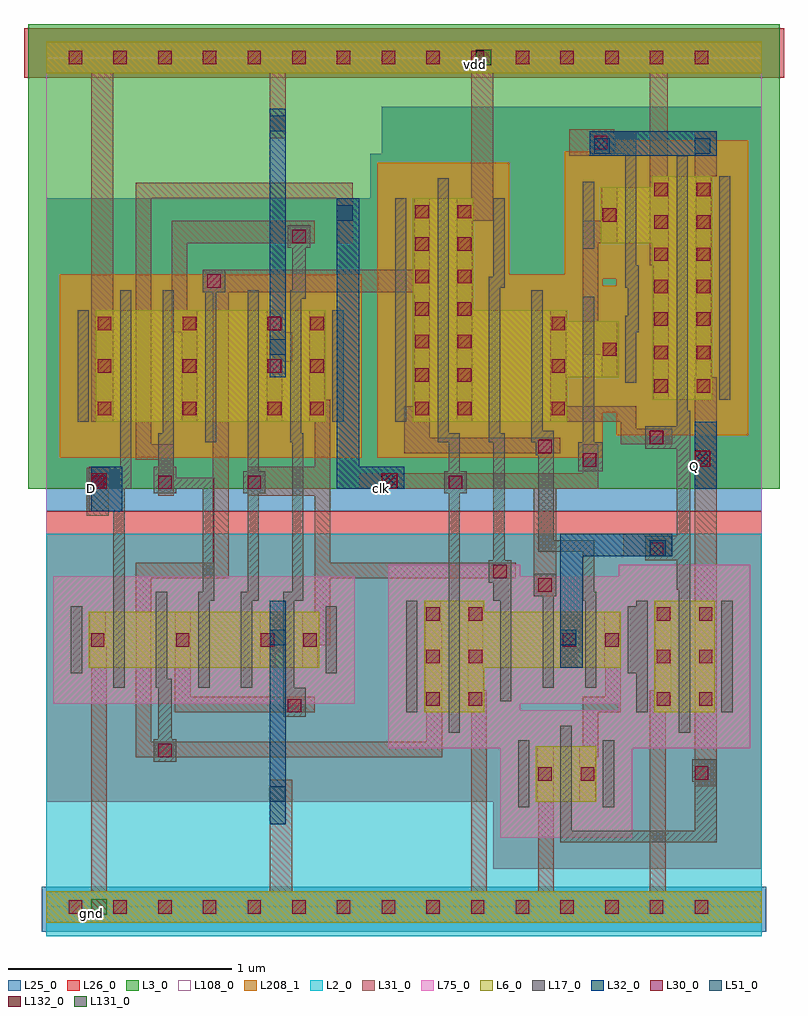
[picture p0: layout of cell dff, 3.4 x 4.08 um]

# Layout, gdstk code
from math import pi, radians
import gdstk
lib = gdstk.Library(unit=1e-6, precision=1e-09)
def R(c, l, rs):  # rectangles x0, y0, x1, y1
    for r in rs: c.add(gdstk.rectangle(r[:2], r[2:], *l))
def A(c, l, x, y, w, h, nx, ny, dx, dy):  # array of equal rectangles
    R(c, l, [(x+i*dx, y+j*dy, x+i*dx+w, y+j*dy+h) for i in range(nx) for j in range(ny)])
L2_0 = (2, 0)
L3_0 = (3, 0)
L6_0 = (6, 0)
L17_0 = (17, 0)
L25_0 = (25, 0)
L26_0 = (26, 0)
L30_0 = (30, 0)
L31_0 = (31, 0)
L32_0 = (32, 0)
L51_0 = (51, 0)
L75_0 = (75, 0)
L108_0 = (108, 0)
L131_0 = (131, 0)
L132_0 = (132, 0)
L208_1 = (208, 1)

pch_mac_cdns_72481076918 = lib.new_cell('pch_mac_CDNS_724810769180')
R(pch_mac_cdns_72481076918, L3_0, [(-0.23,-0.16,0.28,0.66)])
R(pch_mac_cdns_72481076918, L6_0, [(-0.07,0,0,0.5), (0,0,0.05,0.5), (0.05,0,0.12,0.5)])
R(pch_mac_cdns_72481076918, L17_0, [(0,-0.09,0.05,0), (0,0,0.05,0.5), (0,0.5,0.05,0.59)])
R(pch_mac_cdns_72481076918, L25_0, [(-0.2,-0.2,0.25,0.7)])
R(pch_mac_cdns_72481076918, L208_1, [(-0.23,-0.16,0.28,0.66)])
pch_mac_cdns_72481076918.add(gdstk.Label('& SerialNumber 000000', (0,0), layer=63, texttype=63))
pch_mac_cdns_72481076918.add(gdstk.Label('& Distributor TSMC', (0,0), layer=63, texttype=63))
pch_mac_cdns_72481076918.add(gdstk.Label('& Metric 1', (0,0), layer=63, texttype=63))
pch_mac_cdns_72481076918.add(gdstk.Label('& PDK Version "tsmcN40_CRN40ULP_v1.5_2b_20200409"', (0,0), layer=63, texttype=63))
pch_mac_cdns_72481076918.add(gdstk.Label('& PDK TechNode "CRN40ULP"', (0,0), layer=63, texttype=63))
pch_mac_cdns_72481076918.add(gdstk.Label('& Product    tsmcN40_PDK', (0,0), layer=63, texttype=63))
pch_mac_cdns_72481076918.add(gdstk.Label('& Vendor     Taiwan Semiconductor manufacturing Corp.', (0,0), layer=63, texttype=63))
pch_mac_cdns_72481076918.add(gdstk.Label('[@instanceName]', (0.025,0.25), layer=127, texttype=0))
pch_mac_cdns_72481076918.add(gdstk.Label('0.5/0.05', (0,0), layer=127, texttype=0))
pch_mac_cdns_72481076918.add(gdstk.Label('pch_mac', (0,0.045), layer=127, texttype=0))

c_pch_mac_cdns_72481076918 = lib.new_cell('pch_mac_CDNS_724810769181')
R(c_pch_mac_cdns_72481076918, L3_0, [(-0.19,-0.16,0.32,0.66)])
R(c_pch_mac_cdns_72481076918, L6_0, [(-0.03,0,0,0.5), (0,0,0.05,0.5), (0.05,0,0.16,0.5)])
R(c_pch_mac_cdns_72481076918, L17_0, [(0,-0.09,0.05,0), (0,0,0.05,0.5), (0.19,0,0.24,0.5), (0,0.5,0.05,0.59)])
R(c_pch_mac_cdns_72481076918, L25_0, [(-0.16,-0.2,0.29,0.7), (0.29,-0.2,0.35,0.7)])
A(c_pch_mac_cdns_72481076918, L30_0, 0.09, 0.03, 0.06, 0.06, 1, 3, 0, 0.19)
R(c_pch_mac_cdns_72481076918, L31_0, [(0.085,0,0.155,0.5)])
R(c_pch_mac_cdns_72481076918, L208_1, [(-0.19,-0.16,0.32,0.66)])
c_pch_mac_cdns_72481076918.add(gdstk.Label('& SerialNumber 000000', (0,0), layer=63, texttype=63))
c_pch_mac_cdns_72481076918.add(gdstk.Label('& Distributor TSMC', (0,0), layer=63, texttype=63))
c_pch_mac_cdns_72481076918.add(gdstk.Label('& Metric 1', (0,0), layer=63, texttype=63))
c_pch_mac_cdns_72481076918.add(gdstk.Label('& PDK Version "tsmcN40_CRN40ULP_v1.5_2b_20200409"', (0,0), layer=63, texttype=63))
c_pch_mac_cdns_72481076918.add(gdstk.Label('& PDK TechNode "CRN40ULP"', (0,0), layer=63, texttype=63))
c_pch_mac_cdns_72481076918.add(gdstk.Label('& Product    tsmcN40_PDK', (0,0), layer=63, texttype=63))
c_pch_mac_cdns_72481076918.add(gdstk.Label('& Vendor     Taiwan Semiconductor manufacturing Corp.', (0,0), layer=63, texttype=63))
c_pch_mac_cdns_72481076918.add(gdstk.Label('[@instanceName]', (0.025,0.25), layer=127, texttype=0))
c_pch_mac_cdns_72481076918.add(gdstk.Label('0.5/0.05', (0,0), layer=127, texttype=0))
c_pch_mac_cdns_72481076918.add(gdstk.Label('pch_mac', (0,0.045), layer=127, texttype=0))
c_pch_mac_cdns_72481076918.add(gdstk.Label('D', (0.12,0.25), layer=127, texttype=0))

nch_mac_cdns_72481076918 = lib.new_cell('nch_mac_CDNS_724810769182')
R(nch_mac_cdns_72481076918, L6_0, [(-0.07,0,0,0.25), (0,0,0.05,0.25), (0.05,0,0.12,0.25)])
R(nch_mac_cdns_72481076918, L17_0, [(0,-0.09,0.05,0), (0,0,0.05,0.25), (0,0.25,0.05,0.34)])
R(nch_mac_cdns_72481076918, L26_0, [(-0.2,-0.2,0.25,0.45)])
R(nch_mac_cdns_72481076918, L75_0, [(-0.23,-0.16,0.28,0.41)])
R(nch_mac_cdns_72481076918, L208_1, [(-0.23,-0.16,0.28,0.41)])
nch_mac_cdns_72481076918.add(gdstk.Label('& SerialNumber 000000', (0,0), layer=63, texttype=63))
nch_mac_cdns_72481076918.add(gdstk.Label('& Distributor TSMC', (0,0), layer=63, texttype=63))
nch_mac_cdns_72481076918.add(gdstk.Label('& Metric 1', (0,0), layer=63, texttype=63))
nch_mac_cdns_72481076918.add(gdstk.Label('& PDK Version "tsmcN40_CRN40ULP_v1.5_2b_20200409"', (0,0), layer=63, texttype=63))
nch_mac_cdns_72481076918.add(gdstk.Label('& PDK TechNode "CRN40ULP"', (0,0), layer=63, texttype=63))
nch_mac_cdns_72481076918.add(gdstk.Label('& Product    tsmcN40_PDK', (0,0), layer=63, texttype=63))
nch_mac_cdns_72481076918.add(gdstk.Label('& Vendor     Taiwan Semiconductor manufacturing Corp.', (0,0), layer=63, texttype=63))
nch_mac_cdns_72481076918.add(gdstk.Label('[@instanceName]', (0.025,0.125), layer=127, texttype=0))
nch_mac_cdns_72481076918.add(gdstk.Label('0.25/0.05', (0,0), layer=127, texttype=0))
nch_mac_cdns_72481076918.add(gdstk.Label('nch_mac', (0,0.045), layer=127, texttype=0))

c_nch_mac_cdns_72481076918 = lib.new_cell('nch_mac_CDNS_724810769183')
R(c_nch_mac_cdns_72481076918, L6_0, [(-0.11,0,0,0.25), (0,0,0.05,0.25), (0.05,0,0.16,0.25)])
R(c_nch_mac_cdns_72481076918, L17_0, [(0,-0.09,0.05,0), (0.19,-0.025,0.24,0.275), (0,0,0.05,0.25), (0,0.25,0.05,0.34)])
R(c_nch_mac_cdns_72481076918, L26_0, [(-0.24,-0.2,0.29,0.45), (0.29,-0.2,0.35,0.45)])
R(c_nch_mac_cdns_72481076918, L30_0, [(-0.1,0.095,-0.04,0.155), (0.09,0.095,0.15,0.155)])
R(c_nch_mac_cdns_72481076918, L31_0, [(-0.105,0,-0.035,0.25), (0.085,0,0.155,0.25)])
R(c_nch_mac_cdns_72481076918, L75_0, [(-0.27,-0.16,0.32,0.41)])
R(c_nch_mac_cdns_72481076918, L208_1, [(-0.27,-0.16,0.32,0.41)])
c_nch_mac_cdns_72481076918.add(gdstk.Label('& SerialNumber 000000', (0,0), layer=63, texttype=63))
c_nch_mac_cdns_72481076918.add(gdstk.Label('& Distributor TSMC', (0,0), layer=63, texttype=63))
c_nch_mac_cdns_72481076918.add(gdstk.Label('& Metric 1', (0,0), layer=63, texttype=63))
c_nch_mac_cdns_72481076918.add(gdstk.Label('& PDK Version "tsmcN40_CRN40ULP_v1.5_2b_20200409"', (0,0), layer=63, texttype=63))
c_nch_mac_cdns_72481076918.add(gdstk.Label('& PDK TechNode "CRN40ULP"', (0,0), layer=63, texttype=63))
c_nch_mac_cdns_72481076918.add(gdstk.Label('& Product    tsmcN40_PDK', (0,0), layer=63, texttype=63))
c_nch_mac_cdns_72481076918.add(gdstk.Label('& Vendor     Taiwan Semiconductor manufacturing Corp.', (0,0), layer=63, texttype=63))
c_nch_mac_cdns_72481076918.add(gdstk.Label('[@instanceName]', (0.025,0.125), layer=127, texttype=0))
c_nch_mac_cdns_72481076918.add(gdstk.Label('0.25/0.05', (0,0), layer=127, texttype=0))
c_nch_mac_cdns_72481076918.add(gdstk.Label('nch_mac', (0,0.045), layer=127, texttype=0))
c_nch_mac_cdns_72481076918.add(gdstk.Label('D', (0.12,0.125), layer=127, texttype=0))
c_nch_mac_cdns_72481076918.add(gdstk.Label('S', (-0.07,0.125), layer=127, texttype=0))

c_nch_mac_cdns_72481076918_ = lib.new_cell('nch_mac_CDNS_724810769184')
R(c_nch_mac_cdns_72481076918_, L6_0, [(-0.11,0,0,0.5), (0,0,0.05,0.5), (0.05,0,0.16,0.5)])
A(c_nch_mac_cdns_72481076918_, L17_0, -0.19, 0, 0.05, 0.5, 3, 1, 0.19, 0)
R(c_nch_mac_cdns_72481076918_, L17_0, [(0,-0.09,0.05,0), (0,0.5,0.05,0.59)])
R(c_nch_mac_cdns_72481076918_, L26_0, [(-0.3,-0.2,-0.24,0.7), (-0.24,-0.2,0.29,0.7), (0.29,-0.2,0.35,0.7)])
A(c_nch_mac_cdns_72481076918_, L30_0, -0.1, 0.03, 0.06, 0.06, 1, 3, 0, 0.19)
A(c_nch_mac_cdns_72481076918_, L30_0, 0.09, 0.03, 0.06, 0.06, 1, 3, 0, 0.19)
R(c_nch_mac_cdns_72481076918_, L31_0, [(-0.105,0,-0.035,0.5), (0.085,0,0.155,0.5)])
R(c_nch_mac_cdns_72481076918_, L75_0, [(-0.27,-0.16,0.32,0.66)])
R(c_nch_mac_cdns_72481076918_, L208_1, [(-0.27,-0.16,0.32,0.66)])
c_nch_mac_cdns_72481076918_.add(gdstk.Label('& SerialNumber 000000', (0,0), layer=63, texttype=63))
c_nch_mac_cdns_72481076918_.add(gdstk.Label('& Distributor TSMC', (0,0), layer=63, texttype=63))
c_nch_mac_cdns_72481076918_.add(gdstk.Label('& Metric 1', (0,0), layer=63, texttype=63))
c_nch_mac_cdns_72481076918_.add(gdstk.Label('& PDK Version "tsmcN40_CRN40ULP_v1.5_2b_20200409"', (0,0), layer=63, texttype=63))
c_nch_mac_cdns_72481076918_.add(gdstk.Label('& PDK TechNode "CRN40ULP"', (0,0), layer=63, texttype=63))
c_nch_mac_cdns_72481076918_.add(gdstk.Label('& Product    tsmcN40_PDK', (0,0), layer=63, texttype=63))
c_nch_mac_cdns_72481076918_.add(gdstk.Label('& Vendor     Taiwan Semiconductor manufacturing Corp.', (0,0), layer=63, texttype=63))
c_nch_mac_cdns_72481076918_.add(gdstk.Label('[@instanceName]', (0.025,0.25), layer=127, texttype=0))
c_nch_mac_cdns_72481076918_.add(gdstk.Label('0.5/0.05', (0,0), layer=127, texttype=0))
c_nch_mac_cdns_72481076918_.add(gdstk.Label('nch_mac', (0,0.045), layer=127, texttype=0))
c_nch_mac_cdns_72481076918_.add(gdstk.Label('D', (0.12,0.25), layer=127, texttype=0))
c_nch_mac_cdns_72481076918_.add(gdstk.Label('S', (-0.07,0.25), layer=127, texttype=0))

c_pch_mac_cdns_72481076918_ = lib.new_cell('pch_mac_CDNS_724810769185')
R(c_pch_mac_cdns_72481076918_, L3_0, [(-0.23,-0.16,0.32,0.41)])
R(c_pch_mac_cdns_72481076918_, L6_0, [(-0.07,0,0,0.25), (0,0,0.05,0.25), (0.05,0,0.16,0.25)])
R(c_pch_mac_cdns_72481076918_, L17_0, [(0,-0.09,0.05,0), (0.19,-0.025,0.24,0.275), (0,0,0.05,0.25), (0,0.25,0.05,0.34)])
R(c_pch_mac_cdns_72481076918_, L25_0, [(-0.2,-0.2,0.29,0.45), (0.29,-0.2,0.35,0.45)])
R(c_pch_mac_cdns_72481076918_, L30_0, [(0.09,0.095,0.15,0.155)])
R(c_pch_mac_cdns_72481076918_, L31_0, [(0.085,0,0.155,0.25)])
R(c_pch_mac_cdns_72481076918_, L208_1, [(-0.23,-0.16,0.32,0.41)])
c_pch_mac_cdns_72481076918_.add(gdstk.Label('& SerialNumber 000000', (0,0), layer=63, texttype=63))
c_pch_mac_cdns_72481076918_.add(gdstk.Label('& Distributor TSMC', (0,0), layer=63, texttype=63))
c_pch_mac_cdns_72481076918_.add(gdstk.Label('& Metric 1', (0,0), layer=63, texttype=63))
c_pch_mac_cdns_72481076918_.add(gdstk.Label('& PDK Version "tsmcN40_CRN40ULP_v1.5_2b_20200409"', (0,0), layer=63, texttype=63))
c_pch_mac_cdns_72481076918_.add(gdstk.Label('& PDK TechNode "CRN40ULP"', (0,0), layer=63, texttype=63))
c_pch_mac_cdns_72481076918_.add(gdstk.Label('& Product    tsmcN40_PDK', (0,0), layer=63, texttype=63))
c_pch_mac_cdns_72481076918_.add(gdstk.Label('& Vendor     Taiwan Semiconductor manufacturing Corp.', (0,0), layer=63, texttype=63))
c_pch_mac_cdns_72481076918_.add(gdstk.Label('[@instanceName]', (0.025,0.125), layer=127, texttype=0))
c_pch_mac_cdns_72481076918_.add(gdstk.Label('0.25/0.05', (0,0), layer=127, texttype=0))
c_pch_mac_cdns_72481076918_.add(gdstk.Label('pch_mac', (0,0.045), layer=127, texttype=0))
c_pch_mac_cdns_72481076918_.add(gdstk.Label('D', (0.12,0.125), layer=127, texttype=0))

c_pch_mac_cdns_72481076918__ = lib.new_cell('pch_mac_CDNS_724810769186')
R(c_pch_mac_cdns_72481076918__, L3_0, [(-0.23,-0.16,0.32,0.66)])
R(c_pch_mac_cdns_72481076918__, L6_0, [(-0.07,0,0,0.5), (0,0,0.05,0.5), (0.05,0,0.16,0.5)])
R(c_pch_mac_cdns_72481076918__, L17_0, [(0,-0.09,0.05,0), (0,0,0.05,0.5), (0,0.5,0.05,0.59)])
R(c_pch_mac_cdns_72481076918__, L25_0, [(-0.2,-0.2,0.29,0.7)])
A(c_pch_mac_cdns_72481076918__, L30_0, 0.09, 0.03, 0.06, 0.06, 1, 3, 0, 0.19)
R(c_pch_mac_cdns_72481076918__, L31_0, [(0.085,0,0.155,0.5)])
R(c_pch_mac_cdns_72481076918__, L208_1, [(-0.23,-0.16,0.32,0.66)])
c_pch_mac_cdns_72481076918__.add(gdstk.Label('& SerialNumber 000000', (0,0), layer=63, texttype=63))
c_pch_mac_cdns_72481076918__.add(gdstk.Label('& Distributor TSMC', (0,0), layer=63, texttype=63))
c_pch_mac_cdns_72481076918__.add(gdstk.Label('& Metric 1', (0,0), layer=63, texttype=63))
c_pch_mac_cdns_72481076918__.add(gdstk.Label('& PDK Version "tsmcN40_CRN40ULP_v1.5_2b_20200409"', (0,0), layer=63, texttype=63))
c_pch_mac_cdns_72481076918__.add(gdstk.Label('& PDK TechNode "CRN40ULP"', (0,0), layer=63, texttype=63))
c_pch_mac_cdns_72481076918__.add(gdstk.Label('& Product    tsmcN40_PDK', (0,0), layer=63, texttype=63))
c_pch_mac_cdns_72481076918__.add(gdstk.Label('& Vendor     Taiwan Semiconductor manufacturing Corp.', (0,0), layer=63, texttype=63))
c_pch_mac_cdns_72481076918__.add(gdstk.Label('[@instanceName]', (0.025,0.25), layer=127, texttype=0))
c_pch_mac_cdns_72481076918__.add(gdstk.Label('0.5/0.05', (0,0), layer=127, texttype=0))
c_pch_mac_cdns_72481076918__.add(gdstk.Label('pch_mac', (0,0.045), layer=127, texttype=0))
c_pch_mac_cdns_72481076918__.add(gdstk.Label('D', (0.12,0.25), layer=127, texttype=0))

c_pch_mac_cdns_72481076918___ = lib.new_cell('pch_mac_CDNS_724810769187')
R(c_pch_mac_cdns_72481076918___, L3_0, [(-0.27,-0.16,0.32,1.16)])
R(c_pch_mac_cdns_72481076918___, L6_0, [(-0.11,0,0,1), (0,0,0.05,1), (0.05,0,0.16,1)])
R(c_pch_mac_cdns_72481076918___, L17_0, [(0,-0.09,0.05,0), (0,0,0.05,1), (0.19,0,0.24,1), (0,1,0.05,1.09)])
R(c_pch_mac_cdns_72481076918___, L25_0, [(-0.24,-0.2,0.29,1.2), (0.29,-0.2,0.35,1.2)])
A(c_pch_mac_cdns_72481076918___, L30_0, -0.1, 0.03, 0.06, 0.06, 1, 3, 0, 0.15)
A(c_pch_mac_cdns_72481076918___, L30_0, 0.09, 0.03, 0.06, 0.06, 1, 3, 0, 0.15)
A(c_pch_mac_cdns_72481076918___, L30_0, -0.1, 0.475, 0.06, 0.06, 1, 4, 0, 0.145)
A(c_pch_mac_cdns_72481076918___, L30_0, 0.09, 0.475, 0.06, 0.06, 1, 4, 0, 0.145)
R(c_pch_mac_cdns_72481076918___, L31_0, [(-0.105,0,-0.035,1), (0.085,0,0.155,1)])
R(c_pch_mac_cdns_72481076918___, L208_1, [(-0.27,-0.16,0.32,1.16)])
c_pch_mac_cdns_72481076918___.add(gdstk.Label('& SerialNumber 000000', (0,0), layer=63, texttype=63))
c_pch_mac_cdns_72481076918___.add(gdstk.Label('& Distributor TSMC', (0,0), layer=63, texttype=63))
c_pch_mac_cdns_72481076918___.add(gdstk.Label('& Metric 1', (0,0), layer=63, texttype=63))
c_pch_mac_cdns_72481076918___.add(gdstk.Label('& PDK Version "tsmcN40_CRN40ULP_v1.5_2b_20200409"', (0,0), layer=63, texttype=63))
c_pch_mac_cdns_72481076918___.add(gdstk.Label('& PDK TechNode "CRN40ULP"', (0,0), layer=63, texttype=63))
c_pch_mac_cdns_72481076918___.add(gdstk.Label('& Product    tsmcN40_PDK', (0,0), layer=63, texttype=63))
c_pch_mac_cdns_72481076918___.add(gdstk.Label('& Vendor     Taiwan Semiconductor manufacturing Corp.', (0,0), layer=63, texttype=63))
c_pch_mac_cdns_72481076918___.add(gdstk.Label('[@instanceName]', (0.025,0.5), layer=127, texttype=0))
c_pch_mac_cdns_72481076918___.add(gdstk.Label('1.0/0.05', (0,0), layer=127, texttype=0))
c_pch_mac_cdns_72481076918___.add(gdstk.Label('pch_mac', (0,0.045), layer=127, texttype=0))
c_pch_mac_cdns_72481076918___.add(gdstk.Label('D', (0.12,0.5), layer=127, texttype=0))
c_pch_mac_cdns_72481076918___.add(gdstk.Label('S', (-0.07,0.5), layer=127, texttype=0))

c_pch_mac_cdns_72481076918____ = lib.new_cell('pch_mac_CDNS_724810769188')
R(c_pch_mac_cdns_72481076918____, L3_0, [(-0.27,-0.16,0.32,1.16)])
R(c_pch_mac_cdns_72481076918____, L6_0, [(-0.11,0,0,1), (0,0,0.05,1), (0.05,0,0.16,1)])
R(c_pch_mac_cdns_72481076918____, L17_0, [(0,-0.09,0.05,0), (-0.19,0,-0.14,1), (0,0,0.05,1), (0,1,0.05,1.09)])
R(c_pch_mac_cdns_72481076918____, L25_0, [(-0.3,-0.2,-0.24,1.2), (-0.24,-0.2,0.29,1.2)])
A(c_pch_mac_cdns_72481076918____, L30_0, -0.1, 0.03, 0.06, 0.06, 1, 3, 0, 0.15)
A(c_pch_mac_cdns_72481076918____, L30_0, 0.09, 0.03, 0.06, 0.06, 1, 3, 0, 0.15)
A(c_pch_mac_cdns_72481076918____, L30_0, -0.1, 0.475, 0.06, 0.06, 1, 4, 0, 0.145)
A(c_pch_mac_cdns_72481076918____, L30_0, 0.09, 0.475, 0.06, 0.06, 1, 4, 0, 0.145)
R(c_pch_mac_cdns_72481076918____, L31_0, [(-0.105,0,-0.035,1), (0.085,0,0.155,1)])
R(c_pch_mac_cdns_72481076918____, L208_1, [(-0.27,-0.16,0.32,1.16)])
c_pch_mac_cdns_72481076918____.add(gdstk.Label('& SerialNumber 000000', (0,0), layer=63, texttype=63))
c_pch_mac_cdns_72481076918____.add(gdstk.Label('& Distributor TSMC', (0,0), layer=63, texttype=63))
c_pch_mac_cdns_72481076918____.add(gdstk.Label('& Metric 1', (0,0), layer=63, texttype=63))
c_pch_mac_cdns_72481076918____.add(gdstk.Label('& PDK Version "tsmcN40_CRN40ULP_v1.5_2b_20200409"', (0,0), layer=63, texttype=63))
c_pch_mac_cdns_72481076918____.add(gdstk.Label('& PDK TechNode "CRN40ULP"', (0,0), layer=63, texttype=63))
c_pch_mac_cdns_72481076918____.add(gdstk.Label('& Product    tsmcN40_PDK', (0,0), layer=63, texttype=63))
c_pch_mac_cdns_72481076918____.add(gdstk.Label('& Vendor     Taiwan Semiconductor manufacturing Corp.', (0,0), layer=63, texttype=63))
c_pch_mac_cdns_72481076918____.add(gdstk.Label('[@instanceName]', (0.025,0.5), layer=127, texttype=0))
c_pch_mac_cdns_72481076918____.add(gdstk.Label('1.0/0.05', (0,0), layer=127, texttype=0))
c_pch_mac_cdns_72481076918____.add(gdstk.Label('pch_mac', (0,0.045), layer=127, texttype=0))
c_pch_mac_cdns_72481076918____.add(gdstk.Label('D', (0.12,0.5), layer=127, texttype=0))
c_pch_mac_cdns_72481076918____.add(gdstk.Label('S', (-0.07,0.5), layer=127, texttype=0))

c_nch_mac_cdns_72481076918__ = lib.new_cell('nch_mac_CDNS_724810769189')
R(c_nch_mac_cdns_72481076918__, L6_0, [(-0.11,0,0,0.25), (0,0,0.05,0.25), (0.05,0,0.12,0.25)])
R(c_nch_mac_cdns_72481076918__, L17_0, [(0,-0.09,0.05,0), (-0.19,-0.025,-0.14,0.275), (0,0,0.05,0.25), (0,0.25,0.05,0.34)])
R(c_nch_mac_cdns_72481076918__, L26_0, [(-0.3,-0.2,-0.24,0.45), (-0.24,-0.2,0.25,0.45)])
R(c_nch_mac_cdns_72481076918__, L30_0, [(-0.1,0.095,-0.04,0.155)])
R(c_nch_mac_cdns_72481076918__, L31_0, [(-0.105,0,-0.035,0.25)])
R(c_nch_mac_cdns_72481076918__, L75_0, [(-0.27,-0.16,0.28,0.41)])
R(c_nch_mac_cdns_72481076918__, L208_1, [(-0.27,-0.16,0.28,0.41)])
c_nch_mac_cdns_72481076918__.add(gdstk.Label('& SerialNumber 000000', (0,0), layer=63, texttype=63))
c_nch_mac_cdns_72481076918__.add(gdstk.Label('& Distributor TSMC', (0,0), layer=63, texttype=63))
c_nch_mac_cdns_72481076918__.add(gdstk.Label('& Metric 1', (0,0), layer=63, texttype=63))
c_nch_mac_cdns_72481076918__.add(gdstk.Label('& PDK Version "tsmcN40_CRN40ULP_v1.5_2b_20200409"', (0,0), layer=63, texttype=63))
c_nch_mac_cdns_72481076918__.add(gdstk.Label('& PDK TechNode "CRN40ULP"', (0,0), layer=63, texttype=63))
c_nch_mac_cdns_72481076918__.add(gdstk.Label('& Product    tsmcN40_PDK', (0,0), layer=63, texttype=63))
c_nch_mac_cdns_72481076918__.add(gdstk.Label('& Vendor     Taiwan Semiconductor manufacturing Corp.', (0,0), layer=63, texttype=63))
c_nch_mac_cdns_72481076918__.add(gdstk.Label('[@instanceName]', (0.025,0.125), layer=127, texttype=0))
c_nch_mac_cdns_72481076918__.add(gdstk.Label('0.25/0.05', (0,0), layer=127, texttype=0))
c_nch_mac_cdns_72481076918__.add(gdstk.Label('nch_mac', (0,0.045), layer=127, texttype=0))
c_nch_mac_cdns_72481076918__.add(gdstk.Label('S', (-0.07,0.125), layer=127, texttype=0))

c_pch_mac_cdns_72481076918_____ = lib.new_cell('pch_mac_CDNS_7248107691810')
R(c_pch_mac_cdns_72481076918_____, L3_0, [(-0.27,-0.16,0.28,0.66)])
R(c_pch_mac_cdns_72481076918_____, L6_0, [(-0.11,0,0,0.5), (0,0,0.05,0.5), (0.05,0,0.12,0.5)])
R(c_pch_mac_cdns_72481076918_____, L17_0, [(0,-0.09,0.05,0), (-0.19,0,-0.14,0.5), (0,0,0.05,0.5), (0,0.5,0.05,0.59)])
R(c_pch_mac_cdns_72481076918_____, L25_0, [(-0.3,-0.2,-0.24,0.7), (-0.24,-0.2,0.25,0.7)])
A(c_pch_mac_cdns_72481076918_____, L30_0, -0.1, 0.03, 0.06, 0.06, 1, 3, 0, 0.19)
R(c_pch_mac_cdns_72481076918_____, L31_0, [(-0.105,0,-0.035,0.5)])
R(c_pch_mac_cdns_72481076918_____, L208_1, [(-0.27,-0.16,0.28,0.66)])
c_pch_mac_cdns_72481076918_____.add(gdstk.Label('& SerialNumber 000000', (0,0), layer=63, texttype=63))
c_pch_mac_cdns_72481076918_____.add(gdstk.Label('& Distributor TSMC', (0,0), layer=63, texttype=63))
c_pch_mac_cdns_72481076918_____.add(gdstk.Label('& Metric 1', (0,0), layer=63, texttype=63))
c_pch_mac_cdns_72481076918_____.add(gdstk.Label('& PDK Version "tsmcN40_CRN40ULP_v1.5_2b_20200409"', (0,0), layer=63, texttype=63))
c_pch_mac_cdns_72481076918_____.add(gdstk.Label('& PDK TechNode "CRN40ULP"', (0,0), layer=63, texttype=63))
c_pch_mac_cdns_72481076918_____.add(gdstk.Label('& Product    tsmcN40_PDK', (0,0), layer=63, texttype=63))
c_pch_mac_cdns_72481076918_____.add(gdstk.Label('& Vendor     Taiwan Semiconductor manufacturing Corp.', (0,0), layer=63, texttype=63))
c_pch_mac_cdns_72481076918_____.add(gdstk.Label('[@instanceName]', (0.025,0.25), layer=127, texttype=0))
c_pch_mac_cdns_72481076918_____.add(gdstk.Label('0.5/0.05', (0,0), layer=127, texttype=0))
c_pch_mac_cdns_72481076918_____.add(gdstk.Label('pch_mac', (0,0.045), layer=127, texttype=0))
c_pch_mac_cdns_72481076918_____.add(gdstk.Label('S', (-0.07,0.25), layer=127, texttype=0))

c_pch_mac_cdns_72481076918______ = lib.new_cell('pch_mac_CDNS_7248107691811')
R(c_pch_mac_cdns_72481076918______, L3_0, [(-0.19,-0.16,0.28,0.66)])
R(c_pch_mac_cdns_72481076918______, L6_0, [(-0.03,0,0,0.5), (0,0,0.05,0.5), (0.05,0,0.12,0.5)])
R(c_pch_mac_cdns_72481076918______, L17_0, [(0,-0.09,0.05,0), (0,0,0.05,0.5), (0,0.5,0.05,0.59)])
R(c_pch_mac_cdns_72481076918______, L25_0, [(-0.16,-0.2,0.25,0.7)])
R(c_pch_mac_cdns_72481076918______, L208_1, [(-0.19,-0.16,0.28,0.66)])
c_pch_mac_cdns_72481076918______.add(gdstk.Label('& SerialNumber 000000', (0,0), layer=63, texttype=63))
c_pch_mac_cdns_72481076918______.add(gdstk.Label('& Distributor TSMC', (0,0), layer=63, texttype=63))
c_pch_mac_cdns_72481076918______.add(gdstk.Label('& Metric 1', (0,0), layer=63, texttype=63))
c_pch_mac_cdns_72481076918______.add(gdstk.Label('& PDK Version "tsmcN40_CRN40ULP_v1.5_2b_20200409"', (0,0), layer=63, texttype=63))
c_pch_mac_cdns_72481076918______.add(gdstk.Label('& PDK TechNode "CRN40ULP"', (0,0), layer=63, texttype=63))
c_pch_mac_cdns_72481076918______.add(gdstk.Label('& Product    tsmcN40_PDK', (0,0), layer=63, texttype=63))
c_pch_mac_cdns_72481076918______.add(gdstk.Label('& Vendor     Taiwan Semiconductor manufacturing Corp.', (0,0), layer=63, texttype=63))
c_pch_mac_cdns_72481076918______.add(gdstk.Label('[@instanceName]', (0.025,0.25), layer=127, texttype=0))
c_pch_mac_cdns_72481076918______.add(gdstk.Label('0.5/0.05', (0,0), layer=127, texttype=0))
c_pch_mac_cdns_72481076918______.add(gdstk.Label('pch_mac', (0,0.045), layer=127, texttype=0))

c_nch_mac_cdns_72481076918___ = lib.new_cell('nch_mac_CDNS_7248107691812')
R(c_nch_mac_cdns_72481076918___, L6_0, [(-0.11,0,0,0.25), (0,0,0.05,0.25), (0.05,0,0.12,0.25)])
R(c_nch_mac_cdns_72481076918___, L17_0, [(0,-0.09,0.05,0), (0,0,0.05,0.25), (0,0.25,0.05,0.34)])
R(c_nch_mac_cdns_72481076918___, L26_0, [(-0.24,-0.2,0.25,0.45)])
R(c_nch_mac_cdns_72481076918___, L30_0, [(-0.1,0.095,-0.04,0.155)])
R(c_nch_mac_cdns_72481076918___, L31_0, [(-0.105,0,-0.035,0.25)])
R(c_nch_mac_cdns_72481076918___, L75_0, [(-0.27,-0.16,0.28,0.41)])
R(c_nch_mac_cdns_72481076918___, L208_1, [(-0.27,-0.16,0.28,0.41)])
c_nch_mac_cdns_72481076918___.add(gdstk.Label('& SerialNumber 000000', (0,0), layer=63, texttype=63))
c_nch_mac_cdns_72481076918___.add(gdstk.Label('& Distributor TSMC', (0,0), layer=63, texttype=63))
c_nch_mac_cdns_72481076918___.add(gdstk.Label('& Metric 1', (0,0), layer=63, texttype=63))
c_nch_mac_cdns_72481076918___.add(gdstk.Label('& PDK Version "tsmcN40_CRN40ULP_v1.5_2b_20200409"', (0,0), layer=63, texttype=63))
c_nch_mac_cdns_72481076918___.add(gdstk.Label('& PDK TechNode "CRN40ULP"', (0,0), layer=63, texttype=63))
c_nch_mac_cdns_72481076918___.add(gdstk.Label('& Product    tsmcN40_PDK', (0,0), layer=63, texttype=63))
c_nch_mac_cdns_72481076918___.add(gdstk.Label('& Vendor     Taiwan Semiconductor manufacturing Corp.', (0,0), layer=63, texttype=63))
c_nch_mac_cdns_72481076918___.add(gdstk.Label('[@instanceName]', (0.025,0.125), layer=127, texttype=0))
c_nch_mac_cdns_72481076918___.add(gdstk.Label('0.25/0.05', (0,0), layer=127, texttype=0))
c_nch_mac_cdns_72481076918___.add(gdstk.Label('nch_mac', (0,0.045), layer=127, texttype=0))
c_nch_mac_cdns_72481076918___.add(gdstk.Label('S', (-0.07,0.125), layer=127, texttype=0))

c_nch_mac_cdns_72481076918____ = lib.new_cell('nch_mac_CDNS_7248107691813')
R(c_nch_mac_cdns_72481076918____, L6_0, [(-0.07,0,0,0.25), (0,0,0.05,0.25), (0.05,0,0.08,0.25)])
R(c_nch_mac_cdns_72481076918____, L17_0, [(0,-0.09,0.05,0), (0,0,0.05,0.25), (0,0.25,0.05,0.34)])
R(c_nch_mac_cdns_72481076918____, L26_0, [(-0.2,-0.2,0.21,0.45)])
R(c_nch_mac_cdns_72481076918____, L75_0, [(-0.23,-0.16,0.24,0.41)])
R(c_nch_mac_cdns_72481076918____, L208_1, [(-0.23,-0.16,0.24,0.41)])
c_nch_mac_cdns_72481076918____.add(gdstk.Label('& SerialNumber 000000', (0,0), layer=63, texttype=63))
c_nch_mac_cdns_72481076918____.add(gdstk.Label('& Distributor TSMC', (0,0), layer=63, texttype=63))
c_nch_mac_cdns_72481076918____.add(gdstk.Label('& Metric 1', (0,0), layer=63, texttype=63))
c_nch_mac_cdns_72481076918____.add(gdstk.Label('& PDK Version "tsmcN40_CRN40ULP_v1.5_2b_20200409"', (0,0), layer=63, texttype=63))
c_nch_mac_cdns_72481076918____.add(gdstk.Label('& PDK TechNode "CRN40ULP"', (0,0), layer=63, texttype=63))
c_nch_mac_cdns_72481076918____.add(gdstk.Label('& Product    tsmcN40_PDK', (0,0), layer=63, texttype=63))
c_nch_mac_cdns_72481076918____.add(gdstk.Label('& Vendor     Taiwan Semiconductor manufacturing Corp.', (0,0), layer=63, texttype=63))
c_nch_mac_cdns_72481076918____.add(gdstk.Label('[@instanceName]', (0.025,0.125), layer=127, texttype=0))
c_nch_mac_cdns_72481076918____.add(gdstk.Label('0.25/0.05', (0,0), layer=127, texttype=0))
c_nch_mac_cdns_72481076918____.add(gdstk.Label('nch_mac', (0,0.045), layer=127, texttype=0))

c_nch_mac_cdns_72481076918_____ = lib.new_cell('nch_mac_CDNS_7248107691814')
R(c_nch_mac_cdns_72481076918_____, L6_0, [(-0.11,0,0,0.5), (0,0,0.05,0.5), (0.05,0,0.16,0.5)])
R(c_nch_mac_cdns_72481076918_____, L17_0, [(0,-0.09,0.05,0), (-0.19,0,-0.14,0.5), (0,0,0.05,0.5), (0,0.5,0.05,0.59)])
R(c_nch_mac_cdns_72481076918_____, L26_0, [(-0.3,-0.2,-0.24,0.7), (-0.24,-0.2,0.29,0.7)])
A(c_nch_mac_cdns_72481076918_____, L30_0, -0.1, 0.03, 0.06, 0.06, 1, 3, 0, 0.19)
A(c_nch_mac_cdns_72481076918_____, L30_0, 0.09, 0.03, 0.06, 0.06, 1, 3, 0, 0.19)
R(c_nch_mac_cdns_72481076918_____, L31_0, [(-0.105,0,-0.035,0.5), (0.085,0,0.155,0.5)])
R(c_nch_mac_cdns_72481076918_____, L75_0, [(-0.27,-0.16,0.32,0.66)])
R(c_nch_mac_cdns_72481076918_____, L208_1, [(-0.27,-0.16,0.32,0.66)])
c_nch_mac_cdns_72481076918_____.add(gdstk.Label('& SerialNumber 000000', (0,0), layer=63, texttype=63))
c_nch_mac_cdns_72481076918_____.add(gdstk.Label('& Distributor TSMC', (0,0), layer=63, texttype=63))
c_nch_mac_cdns_72481076918_____.add(gdstk.Label('& Metric 1', (0,0), layer=63, texttype=63))
c_nch_mac_cdns_72481076918_____.add(gdstk.Label('& PDK Version "tsmcN40_CRN40ULP_v1.5_2b_20200409"', (0,0), layer=63, texttype=63))
c_nch_mac_cdns_72481076918_____.add(gdstk.Label('& PDK TechNode "CRN40ULP"', (0,0), layer=63, texttype=63))
c_nch_mac_cdns_72481076918_____.add(gdstk.Label('& Product    tsmcN40_PDK', (0,0), layer=63, texttype=63))
c_nch_mac_cdns_72481076918_____.add(gdstk.Label('& Vendor     Taiwan Semiconductor manufacturing Corp.', (0,0), layer=63, texttype=63))
c_nch_mac_cdns_72481076918_____.add(gdstk.Label('[@instanceName]', (0.025,0.25), layer=127, texttype=0))
c_nch_mac_cdns_72481076918_____.add(gdstk.Label('0.5/0.05', (0,0), layer=127, texttype=0))
c_nch_mac_cdns_72481076918_____.add(gdstk.Label('nch_mac', (0,0.045), layer=127, texttype=0))
c_nch_mac_cdns_72481076918_____.add(gdstk.Label('D', (0.12,0.25), layer=127, texttype=0))
c_nch_mac_cdns_72481076918_____.add(gdstk.Label('S', (-0.07,0.25), layer=127, texttype=0))

c_nch_mac_cdns_72481076918______ = lib.new_cell('nch_mac_CDNS_7248107691815')
R(c_nch_mac_cdns_72481076918______, L6_0, [(-0.11,0,0,0.25), (0,0,0.05,0.25), (0.05,0,0.16,0.25)])
R(c_nch_mac_cdns_72481076918______, L17_0, [(0,-0.09,0.05,0), (0.19,-0.025,0.24,0.275), (0,0,0.05,0.25), (0,0.25,0.05,0.34)])
R(c_nch_mac_cdns_72481076918______, L26_0, [(-0.24,-0.2,0.29,0.45), (0.29,-0.2,0.35,0.45)])
R(c_nch_mac_cdns_72481076918______, L30_0, [(-0.1,0.095,-0.04,0.155), (0.09,0.095,0.15,0.155)])
R(c_nch_mac_cdns_72481076918______, L31_0, [(-0.105,0,-0.035,0.25), (0.085,0,0.155,0.25)])
R(c_nch_mac_cdns_72481076918______, L75_0, [(-0.27,-0.16,0.32,0.41)])
R(c_nch_mac_cdns_72481076918______, L208_1, [(-0.27,-0.16,0.32,0.41)])
c_nch_mac_cdns_72481076918______.add(gdstk.Label('& SerialNumber 000000', (0,0), layer=63, texttype=63))
c_nch_mac_cdns_72481076918______.add(gdstk.Label('& Distributor TSMC', (0,0), layer=63, texttype=63))
c_nch_mac_cdns_72481076918______.add(gdstk.Label('& Metric 1', (0,0), layer=63, texttype=63))
c_nch_mac_cdns_72481076918______.add(gdstk.Label('& PDK Version "tsmcN40_CRN40ULP_v1.5_2b_20200409"', (0,0), layer=63, texttype=63))
c_nch_mac_cdns_72481076918______.add(gdstk.Label('& PDK TechNode "CRN40ULP"', (0,0), layer=63, texttype=63))
c_nch_mac_cdns_72481076918______.add(gdstk.Label('& Product    tsmcN40_PDK', (0,0), layer=63, texttype=63))
c_nch_mac_cdns_72481076918______.add(gdstk.Label('& Vendor     Taiwan Semiconductor manufacturing Corp.', (0,0), layer=63, texttype=63))
c_nch_mac_cdns_72481076918______.add(gdstk.Label('[@instanceName]', (0.025,0.125), layer=127, texttype=0))
c_nch_mac_cdns_72481076918______.add(gdstk.Label('0.25/0.05', (0,0), layer=127, texttype=0))
c_nch_mac_cdns_72481076918______.add(gdstk.Label('nch_mac', (0,0.045), layer=127, texttype=0))
c_nch_mac_cdns_72481076918______.add(gdstk.Label('D', (0.12,0.125), layer=127, texttype=0))
c_nch_mac_cdns_72481076918______.add(gdstk.Label('S', (-0.07,0.125), layer=127, texttype=0))

c_pch_mac_cdns_72481076918_______ = lib.new_cell('pch_mac_CDNS_7248107691816')
R(c_pch_mac_cdns_72481076918_______, L3_0, [(-0.27,-0.16,0.28,0.41)])
R(c_pch_mac_cdns_72481076918_______, L6_0, [(-0.11,0,0,0.25), (0,0,0.05,0.25), (0.05,0,0.12,0.25)])
R(c_pch_mac_cdns_72481076918_______, L17_0, [(0,-0.09,0.05,0), (-0.19,-0.025,-0.14,0.275), (0,0,0.05,0.25), (0,0.25,0.05,0.34)])
R(c_pch_mac_cdns_72481076918_______, L25_0, [(-0.3,-0.2,-0.24,0.45), (-0.24,-0.2,0.25,0.45)])
R(c_pch_mac_cdns_72481076918_______, L30_0, [(-0.1,0.095,-0.04,0.155)])
R(c_pch_mac_cdns_72481076918_______, L31_0, [(-0.105,0,-0.035,0.25)])
R(c_pch_mac_cdns_72481076918_______, L208_1, [(-0.27,-0.16,0.28,0.41)])
c_pch_mac_cdns_72481076918_______.add(gdstk.Label('& SerialNumber 000000', (0,0), layer=63, texttype=63))
c_pch_mac_cdns_72481076918_______.add(gdstk.Label('& Distributor TSMC', (0,0), layer=63, texttype=63))
c_pch_mac_cdns_72481076918_______.add(gdstk.Label('& Metric 1', (0,0), layer=63, texttype=63))
c_pch_mac_cdns_72481076918_______.add(gdstk.Label('& PDK Version "tsmcN40_CRN40ULP_v1.5_2b_20200409"', (0,0), layer=63, texttype=63))
c_pch_mac_cdns_72481076918_______.add(gdstk.Label('& PDK TechNode "CRN40ULP"', (0,0), layer=63, texttype=63))
c_pch_mac_cdns_72481076918_______.add(gdstk.Label('& Product    tsmcN40_PDK', (0,0), layer=63, texttype=63))
c_pch_mac_cdns_72481076918_______.add(gdstk.Label('& Vendor     Taiwan Semiconductor manufacturing Corp.', (0,0), layer=63, texttype=63))
c_pch_mac_cdns_72481076918_______.add(gdstk.Label('[@instanceName]', (0.025,0.125), layer=127, texttype=0))
c_pch_mac_cdns_72481076918_______.add(gdstk.Label('0.25/0.05', (0,0), layer=127, texttype=0))
c_pch_mac_cdns_72481076918_______.add(gdstk.Label('pch_mac', (0,0.045), layer=127, texttype=0))
c_pch_mac_cdns_72481076918_______.add(gdstk.Label('S', (-0.07,0.125), layer=127, texttype=0))

c_nch_mac_cdns_72481076918_______ = lib.new_cell('nch_mac_CDNS_7248107691817')
R(c_nch_mac_cdns_72481076918_______, L6_0, [(-0.11,0,0,0.25), (0,0,0.05,0.25), (0.05,0,0.16,0.25)])
R(c_nch_mac_cdns_72481076918_______, L17_0, [(0,-0.09,0.05,0), (-0.19,-0.025,-0.14,0.275), (0.19,-0.025,0.24,0.275), (0,0,0.05,0.25), (0,0.25,0.05,0.34)])
R(c_nch_mac_cdns_72481076918_______, L26_0, [(-0.3,-0.2,-0.24,0.45), (-0.24,-0.2,0.29,0.45), (0.29,-0.2,0.35,0.45)])
R(c_nch_mac_cdns_72481076918_______, L30_0, [(-0.1,0.095,-0.04,0.155), (0.09,0.095,0.15,0.155)])
R(c_nch_mac_cdns_72481076918_______, L31_0, [(-0.105,0,-0.035,0.25), (0.085,0,0.155,0.25)])
R(c_nch_mac_cdns_72481076918_______, L75_0, [(-0.27,-0.16,0.32,0.41)])
R(c_nch_mac_cdns_72481076918_______, L208_1, [(-0.27,-0.16,0.32,0.41)])
c_nch_mac_cdns_72481076918_______.add(gdstk.Label('& SerialNumber 000000', (0,0), layer=63, texttype=63))
c_nch_mac_cdns_72481076918_______.add(gdstk.Label('& Distributor TSMC', (0,0), layer=63, texttype=63))
c_nch_mac_cdns_72481076918_______.add(gdstk.Label('& Metric 1', (0,0), layer=63, texttype=63))
c_nch_mac_cdns_72481076918_______.add(gdstk.Label('& PDK Version "tsmcN40_CRN40ULP_v1.5_2b_20200409"', (0,0), layer=63, texttype=63))
c_nch_mac_cdns_72481076918_______.add(gdstk.Label('& PDK TechNode "CRN40ULP"', (0,0), layer=63, texttype=63))
c_nch_mac_cdns_72481076918_______.add(gdstk.Label('& Product    tsmcN40_PDK', (0,0), layer=63, texttype=63))
c_nch_mac_cdns_72481076918_______.add(gdstk.Label('& Vendor     Taiwan Semiconductor manufacturing Corp.', (0,0), layer=63, texttype=63))
c_nch_mac_cdns_72481076918_______.add(gdstk.Label('[@instanceName]', (0.025,0.125), layer=127, texttype=0))
c_nch_mac_cdns_72481076918_______.add(gdstk.Label('0.25/0.05', (0,0), layer=127, texttype=0))
c_nch_mac_cdns_72481076918_______.add(gdstk.Label('nch_mac', (0,0.045), layer=127, texttype=0))
c_nch_mac_cdns_72481076918_______.add(gdstk.Label('D', (0.12,0.125), layer=127, texttype=0))
c_nch_mac_cdns_72481076918_______.add(gdstk.Label('S', (-0.07,0.125), layer=127, texttype=0))

dff = lib.new_cell('dff')
R(dff, L2_0, [(0,-0.13,3.2,1.67)])
R(dff, L3_0, [(-0.08,1.87,3.28,3.95)])
R(dff, L6_0, [(0,-0.07,3.2,0.07), (0,3.73,3.2,3.87)])
R(dff, L17_0, [(2.3,0.29,3,0.34), (2.3,0.3,2.35,0.47), (2.9,0.3,3,0.64), (2.89,0.56,3,0.66), (2.9,0.57,2.96,0.63), (0.48,0.65,0.58,0.75), (0.5,0.67,0.56,1.02), (1.06,0.85,1.16,0.98), (1.1,0.87,1.15,0.98), (1.1,0.87,1.16,0.93), (2.03,0.92,2.08,1.02), (1.8,1.27,1.85,2.12), (0.7,1.37,0.75,1.87), (0.9,1.37,0.95,2.17), (1.1,1.37,1.15,2.12), (2,1.37,2.08,1.54), (2,1.37,2.05,2.12), (2.4,1.37,2.45,1.64), (2.18,1.39,2.28,1.49), (2.82,1.42,2.88,2.22), (1.98,1.45,2.08,1.55), (2,1.47,2.06,1.53), (2.4,1.47,2.45,1.52), (2.68,1.55,2.88,1.66), (2.7,1.56,2.85,1.64), (2.2,1.59,2.3,1.64), (2.2,1.59,2.27,2.13), (2.3,1.59,2.4,1.64), (0.19,1.77,0.3,1.97), (0.48,1.85,0.58,1.97), (0.88,1.85,0.98,1.95), (1.78,1.85,1.88,1.95), (0.5,1.87,0.75,1.92), (0.5,1.87,0.57,2.12), (0.9,1.87,0.96,1.93), (1.8,1.87,1.86,1.93), (1.8,1.87,1.86,1.93), (2.38,1.95,2.49,2.08), (2.4,1.97,2.45,2.32), (2.4,1.97,2.46,2.03), (2.19,2.02,2.27,2.1), (2.68,2.05,2.82,2.15), (2.7,2.06,2.85,2.14), (2.6,2.57,2.65,2.87), (2.4,2.67,2.45,2.73), (0.71,2.72,0.76,2.84), (1.1,2.72,1.16,3.04), (1.98,2.72,2.03,2.82), (0.7,2.75,0.8,2.85), (2,2.77,2.05,3.17), (2.59,2.77,2.64,3.02), (1.08,2.95,1.18,3.05), (1.1,2.97,1.16,3.03), (2.59,3.27,2.64,3.37), (2.43,3.37,2.64,3.47)])
R(dff, L25_0, [(-0.02,-0.11,3.22,0.09), (0,1.77,3.2,3.17), (0.03,1.91,3.17,2.97), (0.8,1.97,1.5,2.87), (1.8,2.07,3.1,2.87), (1.5,3.17,3.2,3.58)])
R(dff, L26_0, [(2,0.17,3.2,0.87), (0,0.47,3.2,1.77), (0,0.87,3.2,1.66), (0.9,0.87,1.6,1.52), (-0.1,3.71,3.3,3.93)])
A(dff, L30_0, 0.1, -0.03, 0.06, 0.06, 15, 2, 0.2, 3.8)
R(dff, L30_0, [(2.9,0.57,2.96,0.63), (0.5,0.67,0.56,0.73), (1.08,0.87,1.14,0.93), (2.2,1.41,2.26,1.47), (2,1.47,2.06,1.53), (2.7,1.57,2.76,1.63), (0.2,1.87,0.26,1.93), (0.5,1.87,0.56,1.93), (0.9,1.87,0.96,1.93), (1.8,1.87,1.86,1.93), (2.4,1.97,2.46,2.03), (2.2,2.03,2.26,2.09), (2.7,2.07,2.76,2.13), (0.72,2.77,0.78,2.83), (1.1,2.97,1.16,3.03), (2.45,3.39,2.51,3.45)])
R(dff, L31_0, [(0,-0.07,3.2,0.07), (0.2,0.07,0.27,1.17), (1,0.07,1.1,0.57), (1.9,0.07,1.97,0.97), (2.2,0.07,2.27,0.72), (2.7,0.07,2.77,0.97), (2.9,0.54,3,2.37), (0.4,0.67,0.47,1.47), (0.4,0.67,1.7,0.74), (0.5,0.67,0.57,0.74), (1.7,0.67,1.77,1.27), (2.4,0.67,2.47,0.92), (0.575,0.87,1.2,0.94), (2.4,0.87,2.57,0.94), (2.5,0.87,2.57,1.17), (0.97,1.14,1.07,1.32), (2.3,1.14,2.4,1.32), (1.2,1.17,1.27,1.47), (2.18,1.39,2.28,1.94), (0.4,1.47,0.8,1.54), (0.745,1.47,0.815,2.77), (1.2,1.47,2.1,1.54), (1.2,1.47,1.27,2.27), (2.58,1.57,2.8,1.67), (0.18,1.75,0.28,1.965), (0.5,1.84,0.57,2.07), (0.9,1.84,1.2,1.97), (1.4,1.87,2.47,1.94), (2.4,1.87,2.47,2.07), (0.4,2,0.57,2.07), (1.6,2.03,1.715,2.24), (1.7,2.03,2.2,2.1), (2,2.03,2.3,2.1), (0.4,2.07,0.47,3.24), (2.57,2.07,2.64,2.24), (2.6,2.07,2.8,2.14), (0.2,2.17,0.3,3.87), (2.3,2.17,2.6,2.24), (1,2.44,1.1,2.57), (2.4,2.47,2.47,2.97), (2.4,2.47,2.5,2.62), (0.56,2.57,0.63,3.07), (0.7,2.75,1.7,2.85), (2.7,2.87,2.78,3.77), (0.6,2.97,1.2,3.07), (1.3,2.97,1.37,3.24), (2.4,2.97,2.5,3.07), (1.9,3.07,2,3.77), (0.4,3.17,1.3,3.24), (2.9,3.27,3,3.47), (2.34,3.36,2.54,3.48), (1,3.44,1.07,3.74), (0,3.73,3.2,3.87)])
R(dff, L32_0, [(1,0.37,1.07,1.37), (2.3,1.07,2.4,1.57), (2.3,1.57,2.8,1.67), (0.2,1.77,0.34,1.97), (1.3,1.87,1.6,1.97), (1.3,1.87,1.4,3.17), (2.9,1.87,3,2.17), (1,2.37,1.07,3.57), (2.43,3.36,3,3.47)])
R(dff, L51_0, [(1,0.47,1.07,0.54), (1,1.17,1.07,1.24), (2.3,1.17,2.37,1.24), (2.7,1.57,2.77,1.64), (0.2,1.87,0.27,1.94), (1.5,1.87,1.57,1.94), (2.9,1.97,2.97,2.04), (1,2.47,1.07,2.54), (1.3,3.07,1.37,3.14), (2.45,3.37,2.52,3.44), (2.9,3.37,2.97,3.44), (1,3.47,1.07,3.54)])
R(dff, L108_0, [(0,0,3.2,3.8)])
R(dff, L131_0, [(0.2,-0.035,0.27,0.035), (1.92,3.765,1.99,3.835)])
R(dff, L132_0, [(0.2,1.87,0.27,1.94), (1.5,1.87,1.57,1.94), (2.9,1.97,2.97,2.04)])
dff.add(gdstk.FlexPath([(0.355,2.08),(0.355,1.87)], 0.05, ends="flush", simple_path=True, layer=17, datatype=0))  # L17_0
dff.add(gdstk.FlexPath([(0.325,1.41),(0.325,1.97)], 0.05, ends="flush", simple_path=True, layer=17, datatype=0))  # L17_0
dff.add(gdstk.FlexPath([(0.61,0.905),(0.6,0.905)], 0.07, ends=(0.035, 0), simple_path=True, layer=31, datatype=0))  # L31_0
dff.add(gdstk.FlexPath([(0.61,1.07),(0.61,0.905)], 0.07, ends=(0, 0.035), simple_path=True, layer=31, datatype=0))  # L31_0
dff.add(gdstk.Reference(pch_mac_cdns_72481076918, (1.98,2.17)))
dff.add(gdstk.Reference(c_pch_mac_cdns_72481076918, (1.09,2.17)))
dff.add(gdstk.Reference(nch_mac_cdns_72481076918, (2.03,1.07)))
dff.add(gdstk.Reference(c_nch_mac_cdns_72481076918, (2.41,1.07)))
dff.add(gdstk.Reference(c_nch_mac_cdns_72481076918_, (2.83,0.87)))
dff.add(gdstk.Reference(c_pch_mac_cdns_72481076918_, (2.4,2.37)))
dff.add(gdstk.Reference(c_pch_mac_cdns_72481076918__, (2.17,2.17)))
dff.add(gdstk.Reference(c_pch_mac_cdns_72481076918__, (0.9,2.17)))
dff.add(gdstk.Reference(c_pch_mac_cdns_72481076918__, (0.52,2.17)))
dff.add(gdstk.Reference(c_pch_mac_cdns_72481076918___, (2.82,2.27)))
dff.add(gdstk.Reference(c_pch_mac_cdns_72481076918____, (1.75,2.17)))
dff.add(gdstk.Reference(c_nch_mac_cdns_72481076918__, (0.3,1.07)))
dff.add(gdstk.Reference(c_pch_mac_cdns_72481076918_____, (0.33,2.17)))
dff.add(gdstk.Reference(c_pch_mac_cdns_72481076918______, (0.71,2.17)))
dff.add(gdstk.Reference(c_nch_mac_cdns_72481076918___, (0.68,1.07)))
dff.add(gdstk.Reference(c_nch_mac_cdns_72481076918____, (2.22,1.07)))
dff.add(gdstk.Reference(c_nch_mac_cdns_72481076918____, (0.87,1.07)))
dff.add(gdstk.Reference(c_nch_mac_cdns_72481076918____, (0.49,1.07)))
dff.add(gdstk.Reference(c_nch_mac_cdns_72481076918_____, (1.8,0.87)))
dff.add(gdstk.Reference(c_nch_mac_cdns_72481076918______, (1.06,1.07)))
dff.add(gdstk.Reference(c_pch_mac_cdns_72481076918_______, (2.59,2.97)))
dff.add(gdstk.Reference(c_nch_mac_cdns_72481076918_______, (2.35,0.47), rotation=pi, x_reflection=True))
dff.add(gdstk.Label('gnd', (0.2,-0.03), layer=131, texttype=0))
dff.add(gdstk.Label('vdd', (1.92,3.77), layer=131, texttype=0))
dff.add(gdstk.Label('D', (0.2,1.87), layer=132, texttype=0))
dff.add(gdstk.Label('clk', (1.5,1.87), layer=132, texttype=0))
dff.add(gdstk.Label('Q', (2.9,1.97), layer=132, texttype=0))

lib.write_gds('dff.gds')
